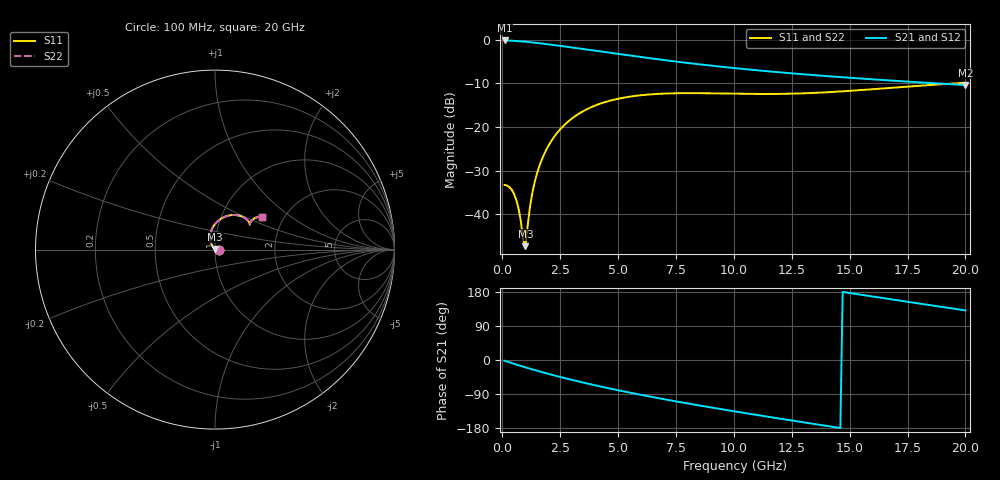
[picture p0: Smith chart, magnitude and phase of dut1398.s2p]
! Touchstone file exported from HFSS 2024.1.0
!  File:  C:/UserFiles/LocalFiles/RDL_TSV_Batchsim/temp_RDL_TSV_1398_1780405544.aedt
!  Generated:  09:21:24 PM Jun  2, 2026
!  Design:  RDL_TSV
!  Project:  temp_RDL_TSV_1398_1780405544
!  Setup:  Setup1
!  Solution:  Sweep
! Variables:
!  dtsv = 12.49um
!  hbump = 3um
!  htsv = 84.27um
!  ldown = 592.38um
!  lrdl = 319.88um
!  p = 40
!  p1 = 43um
!  rhole = 10um
!  subl = 3056.66um
!  t = 450um
!  tdown = 3.81um
!  trdl = 2.28um
!  viad = 10um
!  wdown = 15.83um
!  wrdl = 17.43um
!  xbump = 18um
# GHz S MA R 50.000000
! Terminal data exported
! Port[1] = TM1_1_T1
! Port[2] = TM1_4_T1
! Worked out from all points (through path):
!   200 points, 100 MHz to 20 GHz, reference 50 ohm
!   highest |S21| = -0.20 dB at 100 MHz (marker M1); lowest = -10.4 dB at 20 GHz (marker M2)
!   group delay of S21, straight-line fit = 30.1 ps
!   lowest |S11| = -47.3 dB at 1 GHz (marker M3), VSWR 1.01, Z = 50.1 + j0.422 ohm
!   |S11| at or under -10 dB: start of sweep to 19.63 GHz
!   |S22| runs from -47.2 to -9.9 dB; largest |S21 - S12| = 1.1e-13
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0.1  0.02179 -0.4  0.9776 -2.0  0.9776 -2.0  0.02179 -0.4
! Gamma 0 0 0 0
! Port Impedance 50 0 50 0
0.4  0.01929 -3.7  0.9711 -8.0  0.9711 -8.0  0.01929 -3.8
0.6  0.0148 -5.4  0.9641 -11.9  0.9641 -11.9  0.0148 -5.4
0.7  0.01177 -4.0  0.9599 -13.8  0.9599 -13.8  0.01177 -4.0
0.8  0.008395 1.8  0.9553 -15.7  0.9553 -15.7  0.008394 1.8
0.9  0.005162 22.1  0.9504 -17.6  0.9504 -17.6  0.005163 22.1
1  0.004339 76.3  0.9451 -19.4  0.9451 -19.4  0.004344 76.3
1.2  0.01244 121.6  0.9338 -23.1  0.9338 -23.1  0.01244 121.6
1.3  0.01782 124.7  0.9278 -24.9  0.9278 -24.9  0.01782 124.7
1.5  0.02953 124.4  0.9153 -28.4  0.9153 -28.4  0.02953 124.4
1.8  0.04846 119.6  0.8956 -33.5  0.8956 -33.5  0.04845 119.6
2.1  0.06811 113.5  0.8752 -38.4  0.8752 -38.4  0.06809 113.5
2.5  0.09417 105.3  0.8477 -44.8  0.8477 -44.8  0.09415 105.2
3  0.1249 95.6  0.8135 -52.4  0.8135 -52.4  0.1249 95.5
3.5  0.1523 86.7  0.7801 -59.6  0.7801 -59.6  0.1523 86.7
4.9  0.2078 66.8  0.6924 -78.6  0.6924 -78.6  0.2077 66.8
6.8  0.24 48.9  0.592 -101.4  0.592 -101.4  0.2399 48.9
8.4  0.244 40.3  0.5253 -118.9  0.5253 -118.9  0.2439 40.2
10.1  0.2404 36.2  0.4698 -136.3  0.4698 -136.3  0.2402 36.1
13.4  0.2452 37.1  0.3935 -168.2  0.3935 -168.2  0.245 37.1
16.7  0.2798 38.5  0.3412 161.0  0.3412 161.0  0.2794 38.4
20  0.3202 35.0  0.3023 130.9  0.3023 130.9  0.3196 34.9
